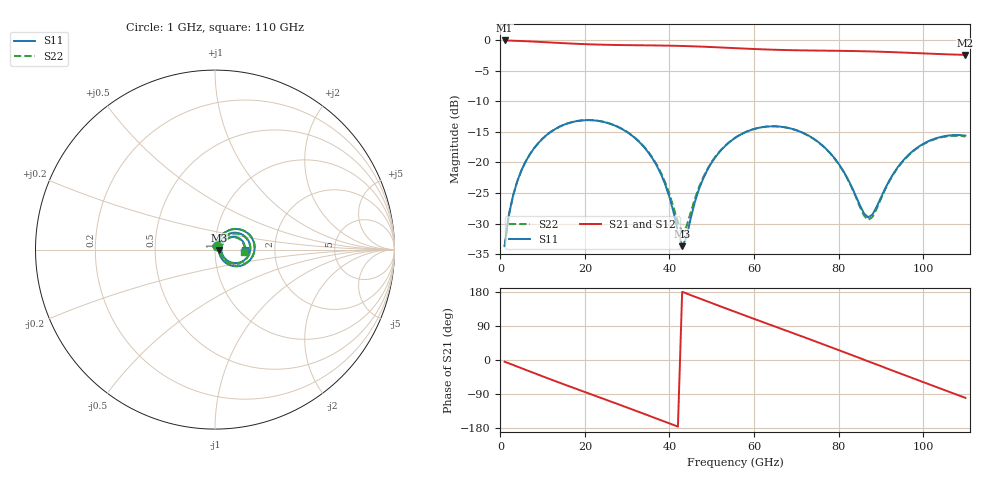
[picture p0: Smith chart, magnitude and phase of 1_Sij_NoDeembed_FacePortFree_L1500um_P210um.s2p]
! Touchstone file exported from HFSS 2024.2.0
!  File:  C:/Users/vaintrug/Documents/Ansoft_Workspace/Comparaison_Calculs_HFSS/1_VarPort.aedt
!  Generated:  03:22:16 PM Jan 21, 2025
!  Design:  1_NoDeembed_FacePortFree
!  Project:  1_VarPort
!  Setup:  Setup1
!  Solution:  Sweep
! Variables:
!  $Lenght = 1500um
!  $PortSize = 210um
!  Gap = 30um
!  Th = 2um
!  X_centralStrip = 20um
!  X_masse = 200um
!  Y_Sub = 1.5mm
!  Z_Box = 400um
!  Z_Sub = 200um
# GHz S MA R 50.000000
! Terminal data exported
! Port[1] = 1
! Port[2] = 2
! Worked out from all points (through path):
!   110 points, 1 GHz to 110 GHz, reference 50 ohm
!   highest |S21| = -0.10 dB at 1 GHz (marker M1); lowest = -2.5 dB at 110 GHz (marker M2)
!   group delay of S21, straight-line fit = 11.6 ps
!   lowest |S11| = -33.7 dB at 43 GHz (marker M3), VSWR 1.04, Z = 52.1 - j0.159 ohm
!   |S11| at or under -10 dB: start of sweep to end of sweep
!   |S22| runs from -33.7 to -13.1 dB; largest |S21 - S12| = 1.5e-14
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1  0.02073 62.5  0.9891 -4.4  0.9891 -4.4  0.02073 62.5
! Gamma 6.04901123734956 50.4766438776098 5.8931249378848 50.127046522826
! Port Impedance 50 0 50 0
3  0.05367 69.9  0.9841 -13.1  0.9841 -13.1  0.05368 70.0
7  0.1168 58.4  0.9715 -30.3  0.9715 -30.3  0.1169 58.6
14  0.1956 31.2  0.9435 -59.9  0.9435 -59.9  0.1958 31.6
20  0.221 7.8  0.923 -84.6  0.923 -84.6  0.2213 8.4
29  0.1854 -25.9  0.9068 -121.4  0.9068 -121.4  0.1861 -24.6
34  0.1331 -43.1  0.9027 -142.1  0.9027 -142.1  0.1343 -40.9
38  0.08009 -53.0  0.8992 -158.9  0.8992 -158.9  0.08203 -49.1
40  0.05209 -52.6  0.8967 -167.4  0.8967 -167.4  0.05502 -46.9
43  0.02072 -4.2  0.8917 179.9  0.8917 179.9  0.02709 -3.4
44  0.02429 30.1  0.8896 175.6  0.8896 175.6  0.02982 23.1
47  0.06072 56.4  0.8823 162.9  0.8823 162.9  0.06297 50.6
49  0.0872 54.6  0.8767 154.4  0.8767 154.4  0.08868 50.4
56  0.1623 34.1  0.8545 125.1  0.8545 125.1  0.1629 31.8
65  0.197 2.9  0.8304 88.2  0.8304 88.2  0.1971 1.2
74  0.1568 -26.8  0.8186 51.3  0.8186 51.3  0.1565 -28.5
80  0.09767 -41.0  0.814 26.2  0.814 26.2  0.09713 -43.0
87  0.03563 -1.0  0.8057 -3.4  0.8057 -3.4  0.03393 -2.4
92  0.07117 42.3  0.7958 -24.6  0.7958 -24.6  0.07011 42.0
96  0.1104 38.8  0.7861 -41.5  0.7861 -41.5  0.1094 38.0
101  0.1475 25.9  0.7733 -62.5  0.7733 -62.5  0.1463 24.6
110  0.1654 -1.5  0.7542 -99.8  0.7542 -99.8  0.1629 -3.9
